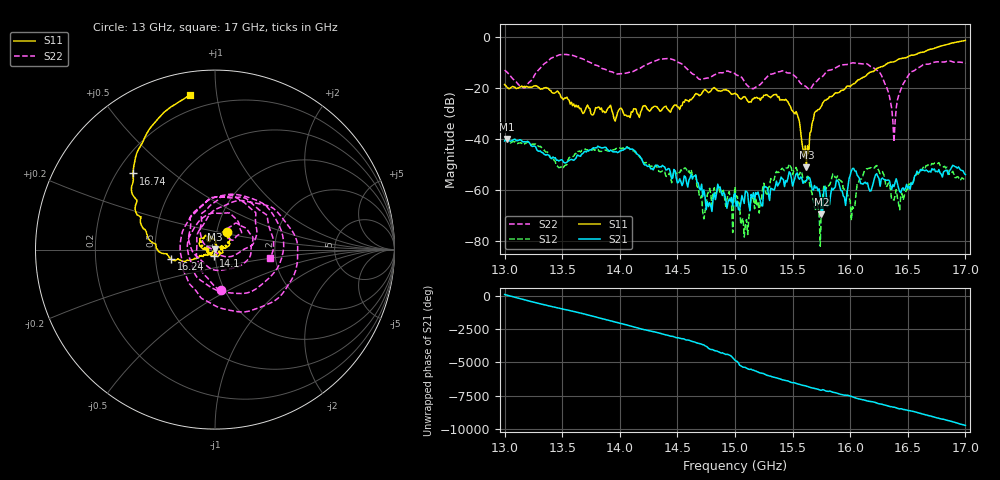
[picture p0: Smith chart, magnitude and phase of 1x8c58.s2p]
!Keysight Technologies,P9374A,MY57211807,A.19.30.04
!Date: Friday, May 08, 2026 15:12:39
!Correction: S11(C  2-Port  )
!S21(C  2-Port  )
!S12(C  2-Port  )
!S22(C  2-Port  )
!S2P File: Measurements: S11, S21, S12, S22:
# Hz S  dB  R 50
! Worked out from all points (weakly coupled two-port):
!   401 points, 13 GHz to 17 GHz, reference 50 ohm
!   highest |S21| = -39.83 dB at 13.02 GHz (marker M1); lowest = -69.3 dB at 15.75 GHz (marker M2)
!   lowest |S11| = -50.9 dB at 15.62 GHz (marker M3), VSWR 1.01, Z = 49.7 + j0.0807 ohm
!   |S11| at or under -10 dB: start of sweep to 16.33 GHz
!   |S22| runs from -40.9 to -6.7 dB; largest |S21 - S12| = 0.0025
!   S11 on the Smith chart (normalised r, x): 13 GHz: 1.11, +0.23; 14.1 GHz: 0.98, -0.07; 16.24 GHz: 0.60, -0.07; 16.74 GHz: 0.27, +0.37; 17 GHz: 0.12, +0.85
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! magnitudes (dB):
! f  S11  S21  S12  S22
! 13 GHz  -18.5  -40.6  -40.5  -12.8
! 13.02 GHz  -19.4  -39.8  -39.9  -13.6
! 13.17 GHz  -19.2  -40.9  -41.9  -19.8
! 13.47 GHz  -21.6  -48.4  -51.1  -6.9
! 13.67 GHz  -29.0  -45.7  -44.2  -8.3
! 14.1 GHz  -29.2  -43.8  -44.4  -13.5
! 14.34 GHz  -28.3  -50.9  -52.5  -8.6
! 15 GHz  -21.8  -61.2  -58.6  -14.2
! 15.1 GHz  -24.2  -60.3  -71.4  -18.5
! 15.45 GHz  -24.8  -56.7  -51.2  -13.9
! 15.62 GHz  -50.9  -56.3  -55.1  -19.4
! 15.67 GHz  -33.5  -59.6  -61.3  -19.1
! 15.75 GHz  -27.0  -69.3  -66.0  -15.6
! 15.86 GHz  -22.3  -59.2  -53.9  -12.2
! 15.96 GHz  -19.9  -65.9  -59.6  -10.7
! 16.02 GHz  -18.5  -51.4  -66.3  -10.0
! 16.24 GHz  -12.0  -54.5  -51.3  -13.2
! 16.34 GHz  -9.9  -56.1  -56.9  -23.1
! 16.38 GHz  -9.6  -58.5  -63.8  -40.9
! 16.51 GHz  -7.3  -58.4  -57.5  -14.5
! 16.74 GHz  -4.1  -52.6  -49.4  -9.6
! 17 GHz  -1.2  -53.8  -56.0  -10.2
